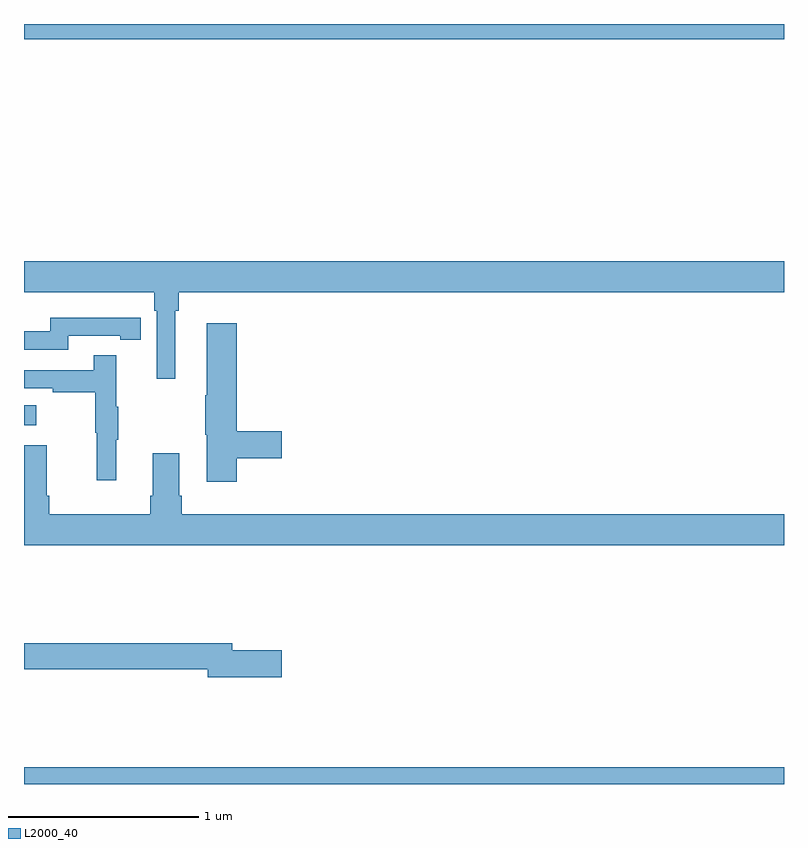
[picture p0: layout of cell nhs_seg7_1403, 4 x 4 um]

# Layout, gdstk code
import gdstk
lib = gdstk.Library(unit=1e-6, precision=1e-09)
def R(c, l, rs):  # rectangles x0, y0, x1, y1
    for r in rs: c.add(gdstk.rectangle(r[:2], r[2:], *l))
def P(c, l, *ps):  # polygons
    for p in ps: c.add(gdstk.Polygon(p, *l))
L2000_40 = (2000, 40)

nhs_seg7_1403 = lib.new_cell('nhs_seg7_1403')
R(nhs_seg7_1403, L2000_40, [(207,1026,211,1026.088), (207,1027.889,207.064,1027.993), (207,1029.92,211,1030)])
P(nhs_seg7_1403, L2000_40, [(207.796,1028.492),(207.815,1028.492),(207.815,1028.588),(211,1028.588),(211,1028.752),(207,1028.752),(207,1028.588),(207.686,1028.588),(207.686,1028.492),(207.699,1028.492),(207.699,1028.132),(207.796,1028.132)],
  [(207.234,1028.358),(207.506,1028.358),(207.506,1028.338),(207.614,1028.338),(207.614,1028.454),(207.506,1028.454),(207.506,1028.455),(207.138,1028.455),(207.138,1028.382),(207,1028.382),(207,1028.286),(207.234,1028.286)],
  [(208.121,1027.714),(208.357,1027.714),(208.357,1027.856),(208.121,1027.856),(208.121,1028.425),(207.962,1028.425),(207.962,1028.045),(207.955,1028.045),(207.955,1027.839),(207.962,1027.839),(207.962,1027.59),(208.121,1027.59)],
  [(207.485,1027.811),(207.496,1027.811),(207.496,1027.985),(207.485,1027.985),(207.485,1028.257),(207.367,1028.257),(207.367,1028.178),(207,1028.178),(207,1028.082),(207.151,1028.082),(207.151,1028.062),(207.375,1028.062),(207.375,1027.848),(207.382,1027.848),(207.382,1027.599),(207.485,1027.599)],
  [(211,1027.42),(207.83,1027.42),(207.83,1027.516),(207.817,1027.516),(207.817,1027.741),(207.677,1027.741),(207.677,1027.516),(207.665,1027.516),(207.665,1027.42),(207.134,1027.42),(207.134,1027.516),(207.121,1027.516),(207.121,1027.783),(207,1027.783),(207,1027.256),(211,1027.256)],
  [(208.357,1026.704),(208.096,1026.704),(208.096,1026.74),(207,1026.74),(207,1026.604),(207.968,1026.604),(207.968,1026.562),(208.357,1026.562)])

lib.write_gds('nhs_seg7_1403.gds')
